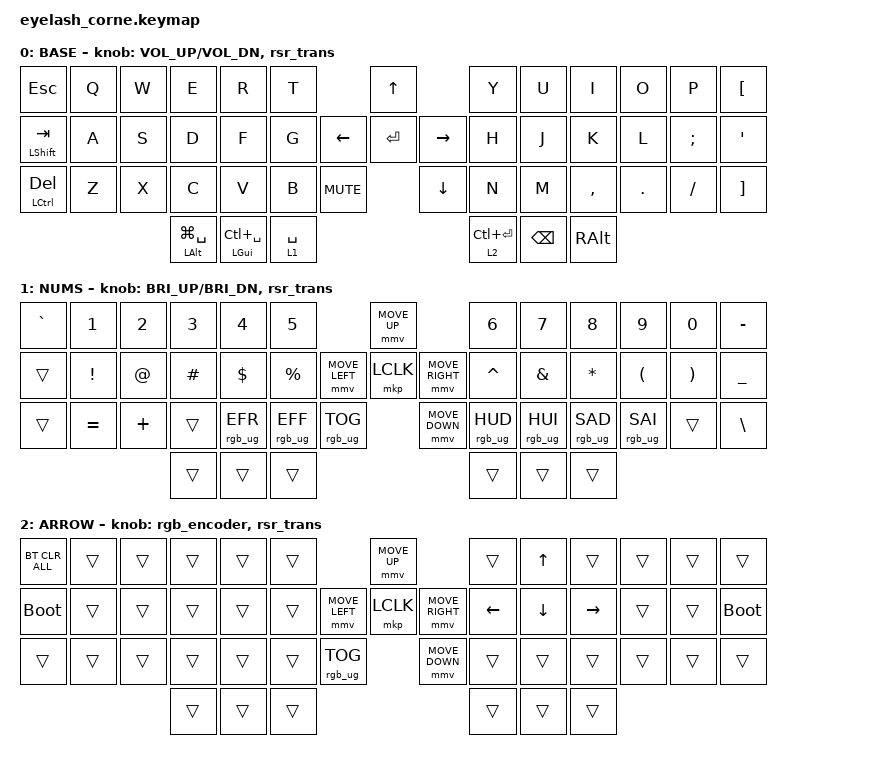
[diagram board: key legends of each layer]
#define ZMK_POINTING_DEFAULT_MOVE_VAL 1200  // 600
#define ZMK_POINTING_DEFAULT_SCRL_VAL 25   // 10

#include <input/processors.dtsi>
#include <zephyr/dt-bindings/input/input-event-codes.h>
#include <behaviors/runtime-sensor-rotate.dtsi>
#include <behaviors.dtsi>
#include <dt-bindings/zmk/bt.h>
#include <dt-bindings/zmk/keys.h>
#include <dt-bindings/zmk/pointing.h>
#include <dt-bindings/zmk/rgb.h>

&mmv_input_listener { input-processors = <&zip_xy_scaler 2 1>; };

&msc_input_listener { input-processors = <&zip_scroll_scaler 2 1>; };

&msc {
    acceleration-exponent = <1>;      // 0
    time-to-max-speed-ms = <100>;       // 300
    delay-ms = <0>;                   // 0
};

&mmv {
    time-to-max-speed-ms = <500>;
    acceleration-exponent = <1>;
    trigger-period-ms = <16>;
};

&soft_off { hold-time-ms = <2000>; };

/ {
    behaviors {
        td0: td0 {
            compatible = "zmk,behavior-tap-dance";
            display-name = "Shift/Caps Lock Tap Dance";
            #binding-cells = <0>;
            bindings = <&kp LEFT_SHIFT>, <&kp CAPS>;
        };

        rsr_trans: rsr_trans {
            compatible = "zmk,behavior-runtime-sensor-rotate";
            #sensor-binding-cells = <0>;
            tap-ms = <0>;
        };

        rsr_vol: rsr_vol {
            compatible = "zmk,behavior-runtime-sensor-rotate";
            #sensor-binding-cells = <0>;
            tap-ms = <5>;
            cw-binding = <&kp C_VOL_UP>;
            ccw-binding = <&kp C_VOL_DN>;
        };

        tap_hold: tap_hold {
            compatible = "zmk,behavior-hold-tap";
            label = "TAP_HOLD";
            bindings = <&kp>, <&kp>;

            #binding-cells = <2>;
            tapping-term-ms = <150>;
        };
    };

    rgb_encoder: rgb_encoder {
        compatible = "zmk,behavior-sensor-rotate";
        #sensor-binding-cells = <0>;
        bindings = <&rgb_ug RGB_BRI>, <&rgb_ug RGB_BRD>;

        label = "Underglow brightness rotate";
    };

    scroll_encoder: scroll_encoder {
        compatible = "zmk,behavior-sensor-rotate";
        #sensor-binding-cells = <0>;
        bindings = <&msc SCRL_DOWN>, <&msc SCRL_UP>;

        tap-ms = <100>;
    };

    combos {
        compatible = "zmk,combos";

        softoff {
            bindings = <&soft_off>;
            key-positions = <1 15 29>;
        };
    };

    keymap {
        compatible = "zmk,keymap";

        base {
            display-name = "BASE";
            bindings = <
&kp ESC                   &kp Q  &kp W  &kp E                         &kp R                         &kp T                                &kp UP                &kp Y            &kp U          &kp I      &kp O    &kp P     &kp LEFT_BRACKET
&tap_hold LEFT_SHIFT TAB  &kp A  &kp S  &kp D                         &kp F                         &kp G                      &kp LEFT  &kp ENTER  &kp RIGHT  &kp H            &kp J          &kp K      &kp L    &kp SEMI  &kp SQT
&tap_hold LCTRL DEL       &kp Z  &kp X  &kp C                         &kp V                         &kp B        &kp C_MUTE              &kp DOWN              &kp N            &kp M          &kp COMMA  &kp DOT  &kp FSLH  &kp RIGHT_BRACKET
                                        &tap_hold LEFT_ALT LG(SPACE)  &tap_hold LEFT_GUI LC(SPACE)  &lt 1 SPACE                                                &lt 2 LC(ENTER)  &kp BACKSPACE  &kp RALT
            >;

            sensor-bindings = <&inc_dec_kp C_VOL_UP C_VOL_DN>, <&rsr_trans>;
        };

        numbers {
            display-name = "NUMS";
            bindings = <
&kp GRAVE  &kp N1           &kp N2       &kp N3    &kp N4           &kp N5                                              &mmv MOVE_UP                     &kp N6           &kp N7           &kp N8           &kp N9                &kp N0                 &kp MINUS
&trans     &kp EXCLAMATION  &kp AT_SIGN  &kp HASH  &kp DOLLAR       &kp PERCENT                         &mmv MOVE_LEFT  &mkp LCLK       &mmv MOVE_RIGHT  &kp CARET        &kp AMPERSAND    &kp ASTERISK     &kp LEFT_PARENTHESIS  &kp RIGHT_PARENTHESIS  &kp UNDER
&trans     &kp EQUAL        &kp PLUS     &trans    &rgb_ug RGB_EFR  &rgb_ug RGB_EFF  &rgb_ug RGB_TOG                    &mmv MOVE_DOWN                   &rgb_ug RGB_HUD  &rgb_ug RGB_HUI  &rgb_ug RGB_SAD  &rgb_ug RGB_SAI       &trans                 &kp BACKSLASH
                                         &trans    &trans           &trans                                                                               &trans           &trans           &trans
            >;

            sensor-bindings = <&inc_dec_kp C_BRI_UP C_BRI_DN>, <&rsr_trans>;
        };

        arrows {
            display-name = "ARROW";
            bindings = <
&bt BT_CLR_ALL  &trans  &trans  &trans  &trans  &trans                                     &mmv MOVE_UP                     &trans          &kp UP_ARROW    &trans           &trans  &trans  &trans
&bootloader     &trans  &trans  &trans  &trans  &trans                     &mmv MOVE_LEFT  &mkp LCLK       &mmv MOVE_RIGHT  &kp LEFT_ARROW  &kp DOWN_ARROW  &kp RIGHT_ARROW  &trans  &trans  &bootloader
&trans          &trans  &trans  &trans  &trans  &trans  &rgb_ug RGB_TOG                    &mmv MOVE_DOWN                   &trans          &trans          &trans           &trans  &trans  &trans
                                &trans  &trans  &trans                                                                      &trans          &trans          &trans
            >;

            sensor-bindings = <&rgb_encoder>, <&rsr_trans>;
        };
    };
};
